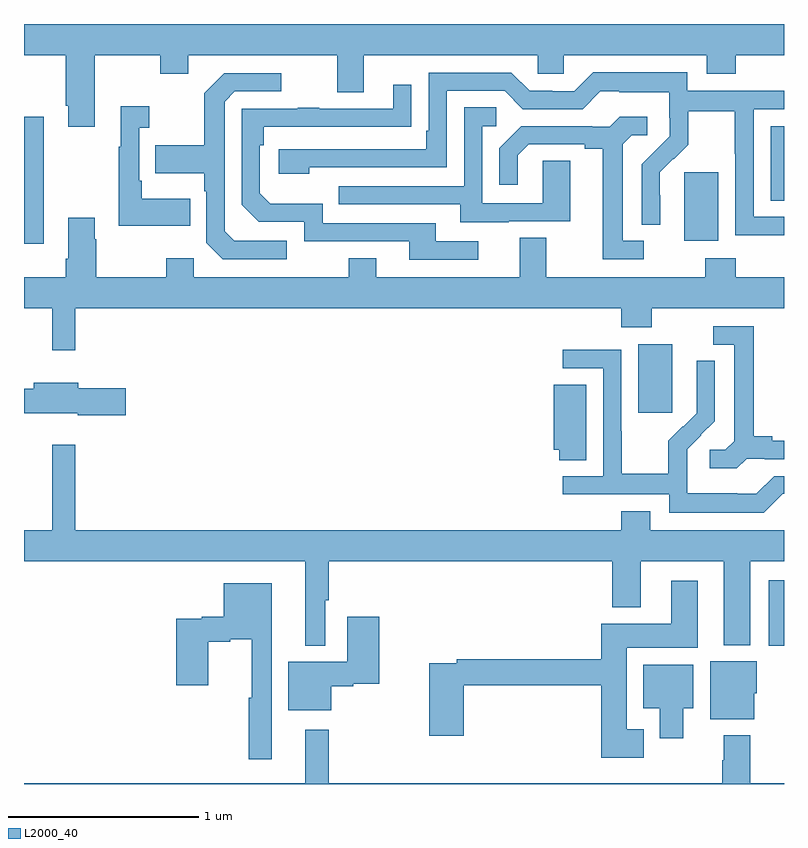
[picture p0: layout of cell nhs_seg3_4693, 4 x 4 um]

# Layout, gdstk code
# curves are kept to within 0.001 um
import gdstk
lib = gdstk.Library(unit=1e-6, precision=1e-09)
def R(c, l, rs):  # rectangles x0, y0, x1, y1
    for r in rs: c.add(gdstk.rectangle(r[:2], r[2:], *l))
def P(c, l, *ps):  # polygons
    for p in ps: c.add(gdstk.Polygon(p, *l))
L2000_40 = (2000, 40)

nhs_seg3_4693 = lib.new_cell('nhs_seg3_4693')
R(nhs_seg3_4693, L2000_40, [(366.92,711.128,367,711.472), (366.233,712.353,366.412,712.714), (363,713.244,363.103,713.911), (366.476,713.258,366.655,713.619), (366.929,713.47,367,713.863)])
P(nhs_seg3_4693, L2000_40, [(363,714.236),(363.221,714.236),(363.221,713.971),(363.233,713.971),(363.233,713.859),(363.373,713.859),(363.373,714.236),(363.718,714.236),(363.718,714.137),(363.865,714.137),(363.865,714.236),(364.649,714.236),(364.649,714.042),(364.789,714.042),(364.789,714.236),(365.703,714.236),(365.703,714.138),(365.841,714.138),(365.841,714.236),(366.593,714.236),(366.593,714.137),(366.746,714.137),(366.746,714.236),(367,714.236),(367,714.4),(363,714.4)],
  [(367,713.385),(366.84,713.385),(366.84,713.952),(367,713.952),(367,714.048),(366.492,714.048),(366.492,714.145),(365.995,714.145),(365.895,714.045),(365.78,714.045),(365.78,714.048),(365.661,714.048),(365.565,714.144),(365.13,714.144),(365.13,713.839),(365.117,713.839),(365.117,713.742),(364.341,713.742),(364.341,713.612),(364.502,713.612),(364.502,713.646),(365.226,713.646),(365.226,714.048),(365.529,714.048),(365.625,713.952),(365.94,713.952),(366.033,714.045),(366.133,714.045),(366.133,714.041),(366.396,714.041),(366.396,713.907),(366.398,713.907),(366.398,713.81),(366.252,713.662),(366.252,713.344),(366.348,713.344),(366.347,713.621),(366.417,713.691),(366.42,713.688),(366.497,713.765),(366.497,713.94),(366.742,713.94),(366.742,713.716),(366.744,713.716),(366.744,713.287),(367,713.287)],
  [(364.384,713.259),(364.107,713.259),(364.056,713.31),(364.056,713.991),(364.11,714.045),(364.354,714.045),(364.354,714.141),(364.053,714.141),(363.948,714.035),(363.948,713.763),(363.691,713.763),(363.691,713.615),(363.948,713.615),(363.948,713.519),(363.96,713.519),(363.96,713.25),(364.047,713.163),(364.384,713.163)],
  [(365.392,713.256),(365.167,713.256),(365.167,713.352),(364.572,713.352),(364.572,713.455),(364.295,713.455),(364.242,713.508),(364.242,713.762),(364.262,713.762),(364.262,713.859),(365.039,713.86),(365.039,714.079),(364.943,714.079),(364.943,713.955),(364.553,713.955),(364.553,713.96),(364.441,713.96),(364.441,713.955),(364.146,713.955),(364.146,713.448),(364.236,713.358),(364.476,713.358),(364.476,713.256),(365.027,713.256),(365.027,713.16),(365.392,713.16)],
  [(363.875,713.479),(363.619,713.479),(363.619,713.575),(363.606,713.575),(363.606,713.855),(363.658,713.855),(363.658,713.968),(363.509,713.968),(363.509,713.755),(363.498,713.755),(363.498,713.339),(363.875,713.339)],
  [(365.551,713.361),(365.875,713.361),(365.875,713.681),(365.73,713.681),(365.73,713.457),(365.412,713.457),(365.412,713.862),(365.485,713.862),(365.485,713.963),(365.316,713.963),(365.316,713.547),(364.657,713.547),(364.657,713.451),(365.297,713.451),(365.297,713.357),(365.551,713.357)],
  [(366.262,713.259),(366.151,713.259),(366.151,713.767),(366.198,713.814),(366.28,713.814),(366.28,713.911),(366.136,713.911),(366.084,713.859),(365.99,713.859),(365.99,713.862),(365.618,713.862),(365.502,713.746),(365.502,713.553),(365.599,713.553),(365.599,713.709),(365.656,713.766),(365.951,713.766),(365.951,713.744),(366.047,713.744),(366.047,713.163),(366.262,713.163)],
  [(363.271,712.904),(366.143,712.904),(366.143,712.805),(366.303,712.805),(366.303,712.904),(367,712.904),(367,713.068),(366.746,713.068),(366.746,713.167),(366.586,713.167),(366.586,713.068),(365.749,713.068),(365.749,713.276),(365.609,713.276),(365.609,713.068),(364.855,713.068),(364.855,713.167),(364.708,713.167),(364.708,713.068),(363.894,713.068),(363.894,713.167),(363.748,713.167),(363.748,713.068),(363.381,713.068),(363.381,713.267),(363.373,713.267),(363.373,713.38),(363.233,713.38),(363.233,713.164),(363.221,713.164),(363.221,713.068),(363,713.068),(363,712.904),(363.149,712.904),(363.149,712.683),(363.271,712.683)],
  [(366.804,712.113),(366.898,712.113),(366.898,712.11),(367,712.11),(367,712.206),(366.937,712.206),(366.937,712.229),(366.841,712.229),(366.841,712.809),(366.627,712.809),(366.627,712.713),(366.737,712.713),(366.737,712.205),(366.69,712.158),(366.609,712.158),(366.609,712.061),(366.752,712.061)],
  [(366.993,711.927),(367,711.927),(367,712.02),(366.948,712.02),(366.855,711.927),(366.755,711.927),(366.755,711.931),(366.492,711.931),(366.492,712.065),(366.49,712.065),(366.49,712.162),(366.636,712.31),(366.636,712.628),(366.54,712.628),(366.54,712.474),(366.542,712.474),(366.542,712.352),(366.471,712.281),(366.468,712.284),(366.391,712.207),(366.391,712.033),(366.147,712.033),(366.147,712.256),(366.144,712.256),(366.144,712.686),(365.835,712.686),(365.835,712.587),(366.048,712.587),(366.048,712.02),(365.835,712.02),(365.835,711.924),(366.396,711.924),(366.396,711.827),(366.893,711.827)],
  [(363.535,712.482),(363.286,712.482),(363.286,712.513),(363.05,712.513),(363.05,712.481),(363,712.481),(363,712.352),(363.282,712.352),(363.282,712.34),(363.535,712.34)],
  [(365.959,712.502),(365.789,712.502),(365.789,712.158),(365.816,712.158),(365.816,712.105),(365.959,712.105)],
  [(364.481,711.128),(364.585,711.128),(364.585,711.367),(364.603,711.367),(364.603,711.572),(366.095,711.572),(366.095,711.329),(366.247,711.329),(366.247,711.572),(366.683,711.572),(366.683,711.131),(366.823,711.131),(366.823,711.572),(367,711.572),(367,711.736),(366.295,711.736),(366.295,711.835),(366.143,711.835),(366.143,711.736),(363.271,711.736),(363.271,712.186),(363.149,712.186),(363.149,711.736),(363,711.736),(363,711.572),(364.481,711.572)],
  [(366.262,710.689),(366.172,710.689),(366.172,711.116),(366.547,711.116),(366.547,711.469),(366.407,711.469),(366.407,711.244),(366.038,711.244),(366.038,711.056),(365.278,711.056),(365.278,711.036),(365.132,711.036),(365.132,710.655),(365.315,710.655),(365.315,710.92),(366.038,710.92),(366.038,710.537),(366.262,710.537)],
  [(364.303,711.457),(364.052,711.457),(364.052,711.279),(363.936,711.279),(363.936,711.271),(363.8,711.271),(363.8,710.919),(363.97,710.919),(363.97,711.149),(364.085,711.149),(364.085,711.161),(364.199,711.161),(364.199,710.853),(364.182,710.853),(364.182,710.529),(364.303,710.529)],
  [(364.618,710.915),(364.734,710.915),(364.734,710.927),(364.871,710.927),(364.871,711.28),(364.7,711.28),(364.7,711.043),(364.391,711.043),(364.391,710.789),(364.618,710.789)],
  [(366.844,710.877),(366.856,710.877),(366.856,711.046),(366.611,711.046),(366.611,710.741),(366.844,710.741)],
  [(366.469,710.798),(366.523,710.798),(366.523,711.028),(366.26,711.028),(366.26,710.798),(366.347,710.798),(366.347,710.64),(366.469,710.64)],
  [(367,710.404),(366.823,710.404),(366.823,710.656),(366.683,710.656),(366.683,710.525),(366.676,710.525),(366.676,710.404),(364.603,710.404),(364.603,710.686),(364.481,710.686),(364.481,710.404),(363,710.404),(363,710.4),(367,710.4)])

lib.write_gds('nhs_seg3_4693.gds')
